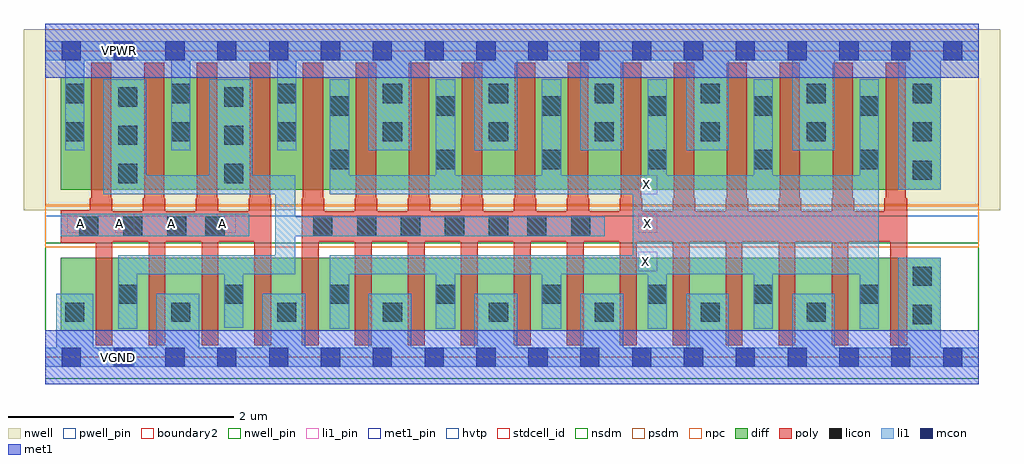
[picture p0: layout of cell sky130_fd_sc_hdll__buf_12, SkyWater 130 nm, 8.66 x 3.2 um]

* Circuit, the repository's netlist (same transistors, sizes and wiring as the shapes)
* Copyright 2020 The SkyWater PDK Authors
*
* Licensed under the Apache License, Version 2.0 (the "License");
* you may not use this file except in compliance with the License.
* You may obtain a copy of the License at
*
*     https://www.apache.org/licenses/LICENSE-2.0
*
* Unless required by applicable law or agreed to in writing, software
* distributed under the License is distributed on an "AS IS" BASIS,
* WITHOUT WARRANTIES OR CONDITIONS OF ANY KIND, either express or implied.
* See the License for the specific language governing permissions and
* limitations under the License.
*
* SPDX-License-Identifier: Apache-2.0

.SUBCKT sky130_fd_sc_hdll__buf_12 A VGND VNB VPB VPWR X
*.PININFO A:I VGND:I VNB:I VPB:I VPWR:I X:O
MMIN1 Ab A VGND VNB sky130_fd_pr__nfet_01v8 m=4 w=0.65U l=0.15U mult=1 sa=0.265
+ sb=0.265 sd=0.28 area=0.063 perim=1.14
MMIN2 X Ab VGND VNB sky130_fd_pr__nfet_01v8 m=12 w=0.65U l=0.15U mult=1 sa=0.265
+ sb=0.265 sd=0.28 area=0.063 perim=1.14
MMIP1 Ab A VPWR VPB sky130_fd_pr__pfet_01v8_hvt m=4 w=1.0U l=0.18U mult=1 sa=0.265
+ sb=0.265 sd=0.28 area=0.063 perim=1.14
MMIP2 X Ab VPWR VPB sky130_fd_pr__pfet_01v8_hvt m=12 w=1.0U l=0.18U mult=1 sa=0.265
+ sb=0.265 sd=0.28 area=0.063 perim=1.14
.ENDS sky130_fd_sc_hdll__buf_12

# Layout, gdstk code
import gdstk
lib = gdstk.Library(unit=1e-6, precision=1e-09)
def R(c, l, rs):  # rectangles x0, y0, x1, y1
    for r in rs: c.add(gdstk.rectangle(r[:2], r[2:], *l))
def A(c, l, x, y, w, h, nx, ny, dx, dy):  # array of equal rectangles
    R(c, l, [(x+i*dx, y+j*dy, x+i*dx+w, y+j*dy+h) for i in range(nx) for j in range(ny)])
def P(c, l, *ps):  # polygons
    for p in ps: c.add(gdstk.Polygon(p, *l))
nwell_pin = (64, 16)
nwell = (64, 20)
diff = (65, 20)
poly = (66, 20)
licon = (66, 44)
li1_pin = (67, 16)
li1 = (67, 20)
mcon = (67, 44)
met1_pin = (68, 16)
met1 = (68, 20)
hvtp = (78, 44)
stdcell_id = (81, 4)
nsdm = (93, 44)
psdm = (94, 20)
npc = (95, 20)
pwell_pin = (122, 16)
boundary2 = (236, 0)

sky130_fd_sc_hdll__buf_1 = lib.new_cell('sky130_fd_sc_hdll__buf_12')
R(sky130_fd_sc_hdll__buf_1, nwell_pin, [(0.62,2.635,0.79,2.805)])
R(sky130_fd_sc_hdll__buf_1, nwell, [(-0.19,1.305,8.47,2.91)])
R(sky130_fd_sc_hdll__buf_1, diff, [(0.135,0.235,7.945,0.885), (0.135,1.485,7.945,2.485)])
P(sky130_fd_sc_hdll__buf_1, poly, [(2.005,1.41),(1.995,1.41),(1.995,2.615),(1.815,2.615),(1.815,1.41),(1.805,1.41),(1.805,1.295),(1.535,1.295),(1.535,1.41),(1.525,1.41),(1.525,2.615),(1.345,2.615),(1.345,1.41),(1.335,1.41),(1.335,1.295),(1.065,1.295),(1.065,1.41),(1.055,1.41),(1.055,2.615),(0.875,2.615),(0.875,1.41),(0.865,1.41),(0.865,1.295),(0.595,1.295),(0.595,1.41),(0.585,1.41),(0.585,2.615),(0.405,2.615),(0.405,1.41),(0.395,1.41),(0.395,1.305),(0.135,1.305),(0.135,1.015),(0.445,1.015),(0.445,0.105),(0.595,0.105),(0.595,1.025),(0.915,1.025),(0.915,0.105),(1.065,0.105),(1.065,1.025),(1.385,1.025),(1.385,0.105),(1.535,0.105),(1.535,1.025),(1.855,1.025),(1.855,0.105),(2.005,0.105)],
  [(7.645,1.41),(7.635,1.41),(7.635,2.615),(7.455,2.615),(7.455,1.41),(7.445,1.41),(7.445,1.295),(7.175,1.295),(7.175,1.41),(7.165,1.41),(7.165,2.615),(6.985,2.615),(6.985,1.41),(6.975,1.41),(6.975,1.295),(6.705,1.295),(6.705,1.41),(6.695,1.41),(6.695,2.615),(6.515,2.615),(6.515,1.41),(6.505,1.41),(6.505,1.295),(6.235,1.295),(6.235,1.41),(6.225,1.41),(6.225,2.615),(6.045,2.615),(6.045,1.41),(6.035,1.41),(6.035,1.295),(5.765,1.295),(5.765,1.41),(5.755,1.41),(5.755,2.615),(5.575,2.615),(5.575,1.41),(5.565,1.41),(5.565,1.295),(5.295,1.295),(5.295,1.41),(5.285,1.41),(5.285,2.615),(5.105,2.615),(5.105,1.41),(5.095,1.41),(5.095,1.295),(4.825,1.295),(4.825,1.41),(4.815,1.41),(4.815,2.615),(4.635,2.615),(4.635,1.41),(4.625,1.41),(4.625,1.295),(4.355,1.295),(4.355,1.41),(4.345,1.41),(4.345,2.615),(4.165,2.615),(4.165,1.41),(4.155,1.41),(4.155,1.295),(3.885,1.295),(3.885,1.41),(3.875,1.41),(3.875,2.615),(3.695,2.615),(3.695,1.41),(3.685,1.41),(3.685,1.295),(3.415,1.295),(3.415,1.41),(3.405,1.41),(3.405,2.615),(3.225,2.615),(3.225,1.41),(3.215,1.41),(3.215,1.295),(2.945,1.295),(2.945,1.41),(2.935,1.41),(2.935,2.615),(2.755,2.615),(2.755,1.41),(2.745,1.41),(2.745,1.295),(2.475,1.295),(2.475,1.41),(2.465,1.41),(2.465,2.615),(2.285,2.615),(2.285,1.41),(2.275,1.41),(2.275,0.105),(2.425,0.105),(2.425,1.025),(2.745,1.025),(2.745,0.105),(2.895,0.105),(2.895,1.025),(3.215,1.025),(3.215,0.105),(3.365,0.105),(3.365,1.025),(3.685,1.025),(3.685,0.105),(3.835,0.105),(3.835,1.025),(4.155,1.025),(4.155,0.105),(4.305,0.105),(4.305,1.025),(4.625,1.025),(4.625,0.105),(4.775,0.105),(4.775,1.025),(5.095,1.025),(5.095,0.105),(5.245,0.105),(5.245,1.025),(5.565,1.025),(5.565,0.105),(5.715,0.105),(5.715,1.025),(6.035,1.025),(6.035,0.105),(6.185,0.105),(6.185,1.025),(6.505,1.025),(6.505,0.105),(6.655,0.105),(6.655,1.025),(6.975,1.025),(6.975,0.105),(7.125,0.105),(7.125,1.025),(7.495,1.025),(7.495,0.105),(7.645,0.105)])
A(sky130_fd_sc_hdll__buf_1, licon, 0.175, 0.315, 0.17, 0.17, 8, 1, 0.94, 0)
A(sky130_fd_sc_hdll__buf_1, licon, 0.645, 0.475, 0.17, 0.17, 8, 1, 0.94, 0)
A(sky130_fd_sc_hdll__buf_1, licon, 0.3, 1.075, 0.17, 0.17, 3, 1, 0.39, 0)
A(sky130_fd_sc_hdll__buf_1, licon, 2.375, 1.075, 0.17, 0.17, 5, 1, 0.39, 0)
A(sky130_fd_sc_hdll__buf_1, licon, 0.645, 1.545, 0.17, 0.17, 1, 3, 0, 0.34)
A(sky130_fd_sc_hdll__buf_1, licon, 1.585, 1.545, 0.17, 0.17, 1, 3, 0, 0.34)
A(sky130_fd_sc_hdll__buf_1, licon, 2.525, 1.67, 0.17, 0.17, 6, 2, 0.94, 0.475)
A(sky130_fd_sc_hdll__buf_1, licon, 0.175, 1.915, 0.17, 0.17, 9, 2, 0.94, 0.34)
R(sky130_fd_sc_hdll__buf_1, licon, [(7.695,0.295,7.865,0.465), (7.695,0.635,7.865,0.805), (1.42,1.075,1.59,1.245), (4.275,1.075,4.445,1.245), (4.665,1.075,4.835,1.245), (7.695,1.575,7.865,1.745)])
A(sky130_fd_sc_hdll__buf_1, li1_pin, 5.26, 0.765, 0.17, 0.17, 1, 3, 0, 0.34)
R(sky130_fd_sc_hdll__buf_1, li1_pin, [(0.62,-0.085,0.79,0.085), (0.195,1.105,0.365,1.275), (0.62,1.105,0.79,1.275), (1.075,1.105,1.245,1.275), (1.52,1.105,1.69,1.275), (0.62,2.635,0.79,2.805)])
R(sky130_fd_sc_hdll__buf_1, li1, [(0.135,1.075,1.81,1.275)])
P(sky130_fd_sc_hdll__buf_1, li1, [(4.965,1.245),(2.215,1.245),(2.215,1.615),(1.835,1.615),(1.835,2.465),(1.455,2.465),(1.455,1.615),(0.895,1.615),(0.895,2.465),(0.515,2.465),(0.515,1.445),(2.04,1.445),(2.04,0.905),(0.645,0.905),(0.645,0.255),(0.815,0.255),(0.815,0.735),(1.585,0.735),(1.585,0.26),(1.755,0.26),(1.755,0.735),(2.215,0.735),(2.215,1.075),(4.965,1.075)],
  [(8.28,0.085),(7.945,0.085),(7.945,0.885),(7.565,0.885),(7.565,0.085),(7.005,0.085),(7.005,0.565),(6.625,0.565),(6.625,0.085),(6.065,0.085),(6.065,0.565),(5.685,0.565),(5.685,0.085),(5.125,0.085),(5.125,0.565),(4.745,0.565),(4.745,0.085),(4.185,0.085),(4.185,0.565),(3.805,0.565),(3.805,0.085),(3.245,0.085),(3.245,0.565),(2.865,0.565),(2.865,0.085),(2.305,0.085),(2.305,0.565),(1.925,0.565),(1.925,0.085),(1.365,0.085),(1.365,0.565),(0.985,0.565),(0.985,0.085),(0.425,0.085),(0.425,0.565),(0.095,0.565),(0.095,0.085),(0,0.085),(0,-0.085),(8.28,-0.085)],
  [(7.395,2.465),(7.225,2.465),(7.225,1.615),(6.455,1.615),(6.455,2.465),(6.285,2.465),(6.285,1.615),(5.515,1.615),(5.515,2.465),(5.345,2.465),(5.345,1.615),(4.575,1.615),(4.575,2.465),(4.405,2.465),(4.405,1.615),(3.635,1.615),(3.635,2.465),(3.465,2.465),(3.465,1.615),(2.695,1.615),(2.695,2.465),(2.525,2.465),(2.525,1.445),(5.21,1.445),(5.21,0.905),(2.525,0.905),(2.525,0.255),(2.695,0.255),(2.695,0.735),(3.465,0.735),(3.465,0.255),(3.635,0.255),(3.635,0.735),(4.405,0.735),(4.405,0.255),(4.575,0.255),(4.575,0.735),(5.345,0.735),(5.345,0.255),(5.515,0.255),(5.515,0.735),(6.285,0.735),(6.285,0.255),(6.455,0.255),(6.455,0.735),(7.225,0.735),(7.225,0.255),(7.395,0.255)],
  [(8.28,2.805),(0,2.805),(0,2.635),(0.175,2.635),(0.175,1.835),(0.345,1.835),(0.345,2.635),(1.115,2.635),(1.115,1.835),(1.285,1.835),(1.285,2.635),(2.055,2.635),(2.055,1.835),(2.225,1.835),(2.225,2.635),(2.865,2.635),(2.865,1.835),(3.245,1.835),(3.245,2.635),(3.805,2.635),(3.805,1.835),(4.185,1.835),(4.185,2.635),(4.745,2.635),(4.745,1.835),(5.125,1.835),(5.125,2.635),(5.685,2.635),(5.685,1.835),(6.065,1.835),(6.065,2.635),(6.625,2.635),(6.625,1.835),(7.005,1.835),(7.005,2.635),(7.565,2.635),(7.565,1.485),(7.945,1.485),(7.945,2.635),(8.28,2.635)])
A(sky130_fd_sc_hdll__buf_1, mcon, 0.145, -0.085, 0.17, 0.17, 18, 2, 0.46, 2.72)
R(sky130_fd_sc_hdll__buf_1, met1_pin, [(0.62,-0.085,0.79,0.085), (0.62,2.635,0.79,2.805)])
R(sky130_fd_sc_hdll__buf_1, met1, [(0,-0.24,8.28,0.24), (0,2.48,8.28,2.96)])
R(sky130_fd_sc_hdll__buf_1, hvtp, [(0,1.25,8.28,2.72)])
R(sky130_fd_sc_hdll__buf_1, stdcell_id, [(0,0,8.28,2.72)])
R(sky130_fd_sc_hdll__buf_1, nsdm, [(0,-0.19,8.28,1.015)])
R(sky130_fd_sc_hdll__buf_1, psdm, [(0,1.355,8.28,2.91)])
R(sky130_fd_sc_hdll__buf_1, npc, [(0,0.975,8.28,1.345)])
R(sky130_fd_sc_hdll__buf_1, pwell_pin, [(0.62,-0.085,0.79,0.085)])
R(sky130_fd_sc_hdll__buf_1, boundary2, [(0,0,8.28,2.72)])
sky130_fd_sc_hdll__buf_1.add(gdstk.Label('A', (1.575,1.19), layer=67, texttype=5))
sky130_fd_sc_hdll__buf_1.add(gdstk.Label('X', (5.325,0.85), layer=67, texttype=5))
sky130_fd_sc_hdll__buf_1.add(gdstk.Label('X', (5.345,1.19), layer=67, texttype=5))
sky130_fd_sc_hdll__buf_1.add(gdstk.Label('A', (1.115,1.19), layer=67, texttype=5))
sky130_fd_sc_hdll__buf_1.add(gdstk.Label('VGND', (0.65,0), layer=67, texttype=5))
sky130_fd_sc_hdll__buf_1.add(gdstk.Label('VPWR', (0.655,2.72), layer=67, texttype=5))
sky130_fd_sc_hdll__buf_1.add(gdstk.Label('X', (5.335,1.53), layer=67, texttype=5))
sky130_fd_sc_hdll__buf_1.add(gdstk.Label('A', (0.655,1.19), layer=67, texttype=5))
sky130_fd_sc_hdll__buf_1.add(gdstk.Label('A', (0.315,1.19), layer=67, texttype=5))
sky130_fd_sc_hdll__buf_1.add(gdstk.Label('VPB', (0.655,2.72), layer=64, texttype=5))
sky130_fd_sc_hdll__buf_1.add(gdstk.Label('VNB', (0.655,0), layer=64, texttype=59))
sky130_fd_sc_hdll__buf_1.add(gdstk.Label('VGND', (0.65,0), layer=68, texttype=5))
sky130_fd_sc_hdll__buf_1.add(gdstk.Label('VPWR', (0.655,2.72), layer=68, texttype=5))

lib.write_gds('sky130_fd_sc_hdll__buf_12.gds')
